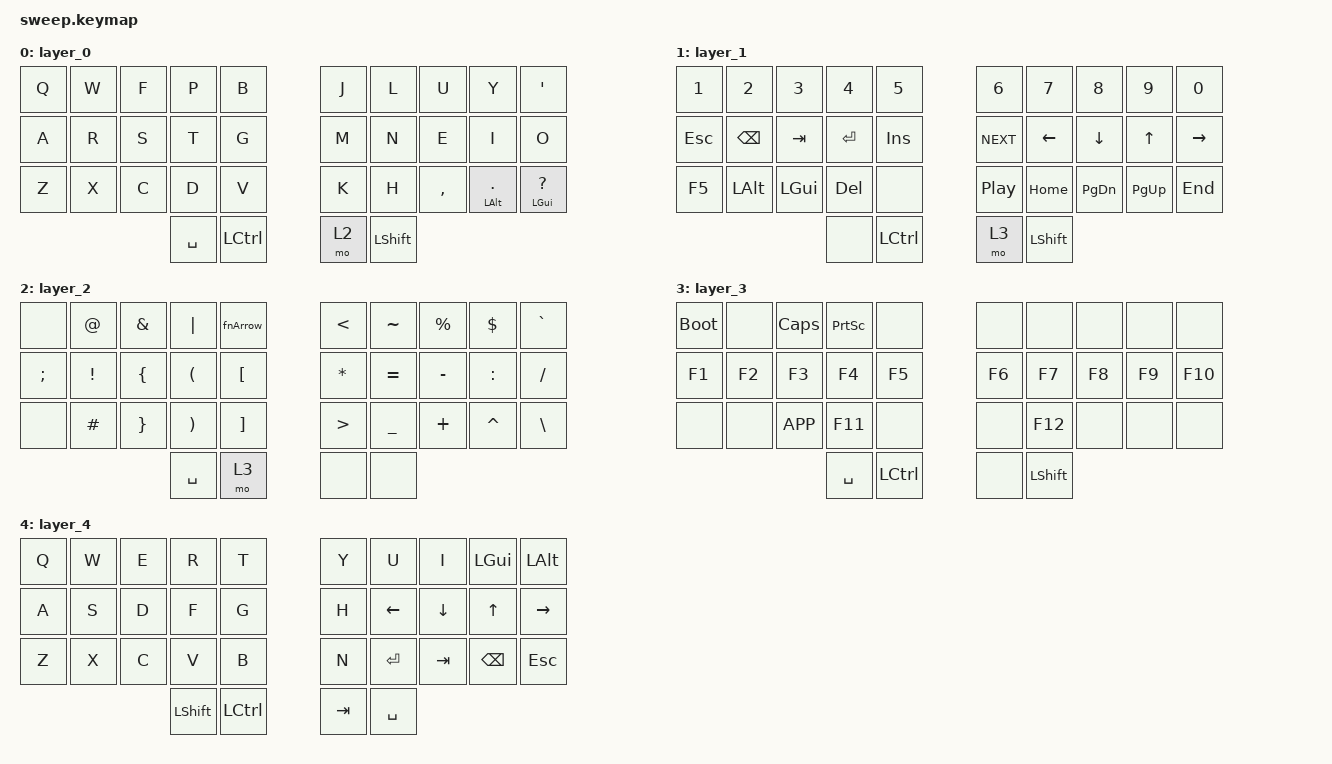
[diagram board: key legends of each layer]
/*
 * Copyright (c) 2020 The ZMK Contributors
 *
 * SPDX-License-Identifier: MIT
 */

#include <behaviors.dtsi>
#include <dt-bindings/zmk/keys.h>


/ {
    combos {
        compatible = "zmk,combos";
        combo_game {
            timeout-ms = <50>;
            key-positions = <5 6>;
            bindings = <&tog 4>;
        };
		combo_layer1 {
            timeout-ms = <15>;
            key-positions = <30 31>;
            bindings = <&mo 1>;
			layers = <0>;
			slow-release;
        };
    };
};

/ {
    macros {
        fnArrow: fnArrow {
            label = "ZM_fnArrow";
            compatible = "zmk,behavior-macro";
            tap-ms = <20>;
            #binding-cells = <0>;
            bindings = <&kp KP_EQUAL &kp GREATER_THAN>;
        };
    };
};

/ {   
	behaviors {
		hm: homerow_mods {
			compatible = "zmk,behavior-hold-tap";
			label = "HOMEROW_MODS";
			#binding-cells = <2>;
			tapping-term-ms = <200>;
			quick-tap-ms = <0>;
			flavor = "tap-preferred";
			bindings = <&kp>, <&kp>;
		};
	// hml: homerow_mods_layer {
	// 		compatible = "zmk,behavior-hold-tap";
	// 		label = "HOMEROW_MODS_LAYER";
    //         #binding-cells = <2>;
    //         flavor = "tap-unless-interrupted";
    //         tapping-term-ms = <200>;
    //         hold-trigger-key-positions = <30>;
	// 		bindings = <&mo>, <&kp>;
    //     };
	};
	keymap {
		compatible = "zmk,keymap";
		layer_0 {
			bindings = <
                &kp Q           &kp W           &kp F           &kp P           &kp B         		&kp J           &kp L           &kp U           &kp Y           &kp APOS
                &kp A           &kp R           &kp S           &kp T           &kp G          		&kp M           &kp N           &kp E           &kp I           &kp O
                &kp Z     		&kp X      		&kp C      		&kp D           &kp V       		&kp K           &kp H           &kp COMMA		&hm LALT DOT	&hm LGUI QMARK
                                                       			&kp SPACE      	&kp LCTRL   		&mo 2    		&kp LSHFT
			>;
		};   
        layer_1 {
			bindings = <
          		&kp N1          &kp N2          &kp N3          &kp N4          &kp N5				&kp N6          &kp N7          &kp N8          &kp N9          &kp N0 
				&kp ESC         &kp BSPC        &kp TAB			&kp ENTER       &kp INS   			&kp C_NEXT      &kp LEFT        &kp DOWN        &kp UP          &kp RIGHT
         		&kp F5          &kp LALT        &kp LGUI        &kp DEL         &none      			&kp C_PP        &kp HOME        &kp PG_DN       &kp PG_UP       &kp END
                                                       			&none  			&kp LCTRL 			&mo 3       	&kp LSHFT     
            >;
		};
        layer_2 {
			bindings = <
                &none           &kp AT          &kp AMPS        &kp PIPE        &fnArrow 			&kp LT          &kp TILDE       &kp PRCNT       &kp DLLR        &kp GRAVE
                &kp SEMI        &kp EXCL        &kp LBRC        &kp LPAR        &kp LBKT      		&kp ASTRK       &kp EQUAL       &kp MINUS       &kp COLON       &kp FSLH
                &none     		&kp HASH        &kp RBRC        &kp RPAR        &kp RBKT   			&kp GT          &kp UNDER       &kp PLUS        &kp CARET       &kp BSLH
    	                                       					&kp SPACE   	&mo 3       		&none       	&none
            >;
		};   
        layer_3 {
			bindings = <
            	&bootloader     &none           &kp CAPS        &kp PSCRN       &none  				&none           &none           &none           &none           &none
             	&kp F1          &kp F2          &kp F3          &kp F4          &kp F5          	&kp F6          &kp F7          &kp F8          &kp F9          &kp F10
         		&none           &none           &kp K_APP       &kp F11         &none      		 	&none           &kp F12         &none           &none           &none
                                                       			&kp SPACE   	&kp LCTRL  			&none			&kp LSHFT
            >;
		};
        layer_4 {
			bindings = <
            	&kp Q           &kp W           &kp E           &kp R           &kp T				&kp Y           &kp U           &kp I           &kp LGUI        &kp LALT
              	&kp A           &kp S           &kp D           &kp F           &kp G				&kp H           &kp LEFT        &kp DOWN        &kp UP          &kp RIGHT
              	&kp Z           &kp X           &kp C           &kp V           &kp B  			 	&kp N           &kp ENTER       &kp TAB         &kp BSPC        &kp ESC
                                                       			&kp LSHFT   &kp LCTRL  				&kp TAB     	&kp SPACE
            >;
		};
	};
};

//	            &none           &none           &none           &none           &none    			&none           &none           &none           &none           &none
//	            &none           &none           &none           &none           &none          		&none           &none           &none           &none           &none
//	            &none           &none           &none           &none           &none       		&none       	&none       	&none       	&none       	&none
//	                                                    		&none           &none           	&none      		&none


//	            0       		1               2               3               4               	5             	6               7               8               9               
//				10              11				12      		13              14              	15              16              17           	18              19
//				20              21              22              23				24      			25              26              27              28              29
//				          										30         		31          		32          	33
